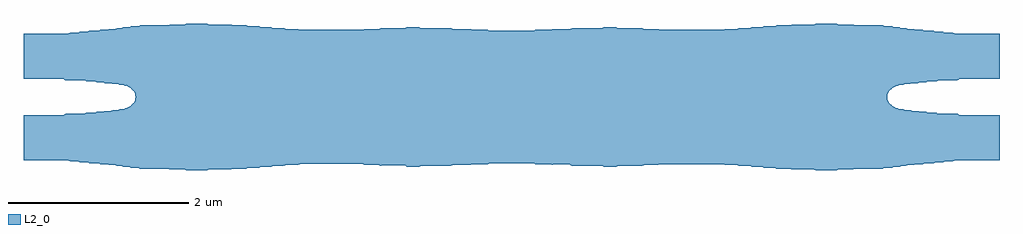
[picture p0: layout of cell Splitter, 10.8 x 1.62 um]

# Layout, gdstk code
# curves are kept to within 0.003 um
import gdstk
lib = gdstk.Library(unit=1e-6, precision=1e-09)
def P(c, l, *ps):  # polygons
    for p in ps: c.add(gdstk.Polygon(p, *l))
L2_0 = (2, 0)

splitter = lib.new_cell('Splitter')
P(splitter, L2_0, [(-4.328,0.134),(-4.351,0.144),(-4.409,0.144),(-4.431,0.154),(-4.499,0.154),(-4.521,0.164),(-4.589,0.164),(-4.611,0.174),(-4.699,0.174),(-4.721,0.184),(-4.929,0.184),(-4.951,0.194),(-4.954,0.2),(-5.4,0.2),(-5.4,0.7),(-4.904,0.7),(-4.88,0.712),(-4.791,0.712),(-4.771,0.722),(-4.691,0.722),(-4.671,0.732),(-4.571,0.732),(-4.551,0.742),(-4.471,0.742),(-4.449,0.752),(-4.381,0.752),(-4.359,0.762),(-4.328,0.762)],
  [(-4.362,-0.762),(-4.383,-0.752),(-4.452,-0.752),(-4.473,-0.742),(-4.551,-0.742),(-4.574,-0.732),(-4.673,-0.732),(-4.694,-0.722),(-4.773,-0.722),(-4.794,-0.712),(-4.881,-0.712),(-4.91,-0.7),(-5.4,-0.7),(-5.4,-0.2),(-4.969,-0.2),(-4.931,-0.185),(-4.724,-0.185),(-4.702,-0.175),(-4.614,-0.175),(-4.589,-0.165),(-4.524,-0.165),(-4.501,-0.155),(-4.434,-0.155),(-4.412,-0.145),(-4.353,-0.145),(-4.328,-0.135),(-4.328,-0.762)],
  [(4.331,0.135),(4.331,0.762),(4.358,0.762),(4.38,0.752),(4.448,0.752),(4.47,0.742),(4.551,0.742),(4.57,0.732),(4.671,0.732),(4.69,0.722),(4.771,0.722),(4.79,0.712),(4.879,0.712),(4.904,0.7),(5.4,0.7),(5.4,0.2),(4.953,0.2),(4.95,0.194),(4.929,0.184),(4.72,0.184),(4.699,0.174),(4.61,0.174),(4.588,0.164),(4.52,0.164),(4.498,0.154),(4.43,0.154),(4.408,0.144),(4.35,0.144)],
  [(4.331,-0.762),(4.331,-0.136),(4.352,-0.145),(4.411,-0.145),(4.433,-0.155),(4.501,-0.155),(4.523,-0.165),(4.588,-0.165),(4.613,-0.175),(4.701,-0.175),(4.723,-0.185),(4.931,-0.185),(4.968,-0.2),(5.4,-0.2),(5.4,-0.7),(4.912,-0.7),(4.881,-0.712),(4.793,-0.712),(4.772,-0.722),(4.693,-0.722),(4.672,-0.732),(4.573,-0.732),(4.551,-0.742),(4.473,-0.742),(4.451,-0.752),(4.383,-0.752),(4.361,-0.762)],
  [(-3.591,-0.812),(-3.613,-0.802),(-3.781,-0.802),(-3.803,-0.792),(-4.111,-0.792),(-4.133,-0.782),(-4.211,-0.782),(-4.233,-0.772),(-4.292,-0.772),(-4.313,-0.762),(-4.328,-0.762),(-4.328,-0.135),(-4.289,-0.134),(-4.259,-0.124),(-4.21,-0.099),(-4.175,-0.063),(-4.162,-0.038),(-4.156,-0.004),(-4.162,0.037),(-4.177,0.066),(-4.21,0.098),(-4.289,0.134),(-4.328,0.134),(-4.328,0.762),(-4.311,0.762),(-4.288,0.772),(-4.233,0.772),(-4.208,0.782),(-4.133,0.782),(-4.108,0.792),(-3.801,0.792),(-3.778,0.802),(-3.611,0.802),(-3.588,0.812),(-3.376,0.812),(-3.353,0.802),(-3.106,0.802),(-3.083,0.792),(-2.929,0.79),(-2.929,-0.791),(-3.081,-0.792),(-3.103,-0.802),(-3.351,-0.802),(-3.372,-0.812)],
  [(-2.929,-0.791),(-2.929,0.79),(-2.913,0.782),(-2.796,0.782),(-2.771,0.772),(-2.666,0.772),(-2.641,0.762),(-2.526,0.762),(-2.501,0.752),(-2.365,0.752),(-2.344,0.742),(-1.643,0.742),(-1.621,0.752),(-1.463,0.752),(-1.441,0.762),(-1.173,0.762),(-1.151,0.772),(-1.027,0.772),(-1.005,0.762),(-0.677,0.762),(-0.655,0.752),(-0.457,0.752),(-0.435,0.742),(-0.264,0.742),(-0.245,0.732),(0.242,0.732),(0.242,-0.732),(-0.242,-0.732),(-0.263,-0.742),(-0.432,-0.742),(-0.454,-0.752),(-0.652,-0.752),(-0.674,-0.762),(-1.002,-0.762),(-1.024,-0.772),(-1.154,-0.772),(-1.176,-0.762),(-1.444,-0.762),(-1.466,-0.752),(-1.624,-0.752),(-1.646,-0.742),(-2.341,-0.742),(-2.365,-0.752),(-2.501,-0.752),(-2.523,-0.762),(-2.641,-0.762),(-2.663,-0.772),(-2.771,-0.772),(-2.793,-0.782),(-2.911,-0.782)],
  [(2.929,-0.791),(2.91,-0.782),(2.792,-0.782),(2.77,-0.772),(2.662,-0.772),(2.64,-0.762),(2.522,-0.762),(2.5,-0.752),(2.364,-0.752),(2.34,-0.742),(1.645,-0.742),(1.623,-0.752),(1.465,-0.752),(1.443,-0.762),(1.175,-0.762),(1.153,-0.772),(1.024,-0.772),(1.002,-0.762),(0.674,-0.762),(0.652,-0.752),(0.454,-0.752),(0.432,-0.742),(0.262,-0.742),(0.242,-0.732),(0.242,0.732),(0.264,0.742),(0.434,0.742),(0.456,0.752),(0.654,0.752),(0.676,0.762),(1.004,0.762),(1.026,0.772),(1.151,0.772),(1.173,0.762),(1.441,0.762),(1.463,0.752),(1.621,0.752),(1.643,0.742),(2.343,0.742),(2.364,0.752),(2.5,0.752),(2.525,0.762),(2.64,0.762),(2.665,0.772),(2.77,0.772),(2.795,0.782),(2.912,0.782),(2.929,0.79)],
  [(3.372,-0.812),(3.35,-0.802),(3.102,-0.802),(3.08,-0.792),(2.929,-0.791),(2.929,0.79),(3.082,0.792),(3.106,0.802),(3.352,0.802),(3.376,0.812),(3.587,0.812),(3.61,0.802),(3.777,0.802),(3.8,0.792),(4.107,0.792),(4.132,0.782),(4.208,0.782),(4.232,0.772),(4.288,0.772),(4.31,0.762),(4.331,0.762),(4.331,0.135),(4.288,0.134),(4.212,0.1),(4.176,0.066),(4.162,0.037),(4.156,0.006),(4.16,-0.032),(4.174,-0.063),(4.212,-0.101),(4.288,-0.134),(4.331,-0.136),(4.331,-0.762),(4.312,-0.762),(4.291,-0.772),(4.232,-0.772),(4.21,-0.782),(4.132,-0.782),(4.11,-0.792),(3.802,-0.792),(3.781,-0.802),(3.612,-0.802),(3.591,-0.812)])

lib.write_gds('Splitter.gds')
